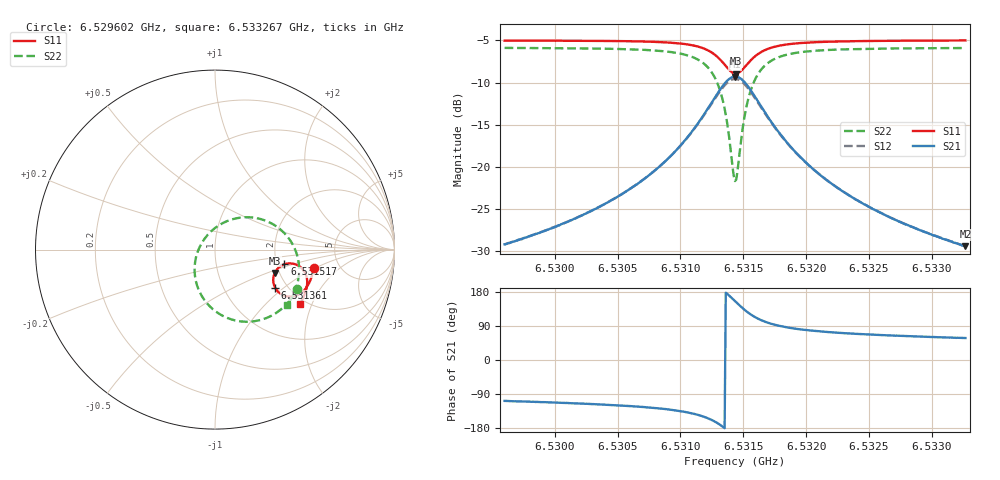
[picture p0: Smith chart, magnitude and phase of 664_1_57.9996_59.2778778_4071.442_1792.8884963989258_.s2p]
#  HZ  S  RI  R  50.00
! Rohde & Schwarz Vector Network Analyzer
! Rohde-Schwarz,ZNB20-2Port,1311601062101988,3.16
! Created: UTC 3/21/2024, 1:20:04 AM
! freq[Hz]  re:S11  im:S11  re:S21  im:S21  re:S12  im:S12  re:S22  im:S22
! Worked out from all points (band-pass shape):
!   401 points, 6.529602 GHz to 6.533267 GHz, reference 50 ohm
!   highest |S21| = -9.29 dB at 6.531435 GHz (marker M1); lowest = -29.4 dB at 6.533267 GHz (marker M2)
!   |S21| within 3 dB of the highest: 6.531253 GHz to 6.531619 GHz (366.2 kHz wide, 0.00561 % of centre)
!   lowest |S11| = -8.9 dB at 6.531444 GHz (marker M3), VSWR 2.11, Z = 94.4 - j28.2 ohm
!   |S11| at or under -10 dB: nowhere
!   |S22| runs from -21.7 to -5.9 dB; largest |S21 - S12| = 0.014
!   S11 on the Smith chart (normalised r, x): 6.529602 GHz: 3.24, -0.95; 6.531361 GHz: 1.73, -0.87; 6.531517 GHz: 2.20, -0.43; 6.533267 GHz: 1.84, -1.64
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6.5296018e9  0.5513 -0.1008  -0.0107 -0.0331  -0.0114 -0.0328  0.4582 -0.2181
6.5302158e9  0.5377 -0.153  -0.0219 -0.0466  -0.0231 -0.0462  0.4219 -0.2764
6.5305457e9  0.525 -0.1849  -0.0354 -0.0602  -0.0371 -0.0592  0.3864 -0.3164
6.5308298e9  0.5052 -0.2171  -0.0612 -0.079  -0.0634 -0.0771  0.3289 -0.3602
6.5310406e9  0.4747 -0.2456  -0.1065 -0.0984  -0.1094 -0.0944  0.2386 -0.3957
6.5312055e9  0.4215 -0.2624  -0.1891 -0.1005  -0.1908 -0.0922  0.0891 -0.3882
6.5312972e9  0.371 -0.2496  -0.2669 -0.0618  -0.2639 -0.0503  -0.037 -0.3076
6.5313338e9  0.3489 -0.232  -0.2989 -0.0253  -0.2926 -0.0134  -0.0835 -0.2397
6.5313613e9  0.3349 -0.2121  -0.3176 0.013  -0.3086 0.0236  -0.1071 -0.1731
6.5314163e9  0.3251 -0.1584  -0.3232 0.1093  -0.31 0.1144  -0.0974 -0.0143
6.5314346e9  0.3293 -0.1394  -0.3123 0.1424  -0.2988 0.1451  -0.0735 0.0374
6.5314438e9  0.333 -0.1303  -0.3046 0.1579  -0.2909 0.1594  -0.0577 0.0611
6.5314621e9  0.343 -0.1135  -0.2844 0.1861  -0.2717 0.1855  -0.0201 0.1034
6.5314804e9  0.3559 -0.0997  -0.26 0.2094  -0.2484 0.2069  0.0239 0.1367
6.5315171e9  0.3863 -0.0819  -0.2046 0.2383  -0.1963 0.2338  0.1194 0.1745
6.5315812e9  0.437 -0.0788  -0.1166 0.2427  -0.1128 0.2384  0.2664 0.1665
6.5316729e9  0.4817 -0.1025  -0.0406 0.2063  -0.0389 0.2039  0.389 0.0891
6.5318103e9  0.5074 -0.1423  0.00403 0.1509  0.00524 0.15  0.4543 -0.0208
6.5320486e9  0.5134 -0.1897  0.0216 0.0958  0.0227 0.0955  0.4682 -0.1326
6.5323052e9  0.5079 -0.2234  0.0233 0.0666  0.0241 0.0663  0.4568 -0.1974
6.5326626e9  0.4957 -0.2587  0.0212 0.0458  0.0223 0.0452  0.4358 -0.2519
6.5332674e9  0.4714 -0.3057  0.018 0.0287  0.0187 0.0285  0.4012 -0.3094
